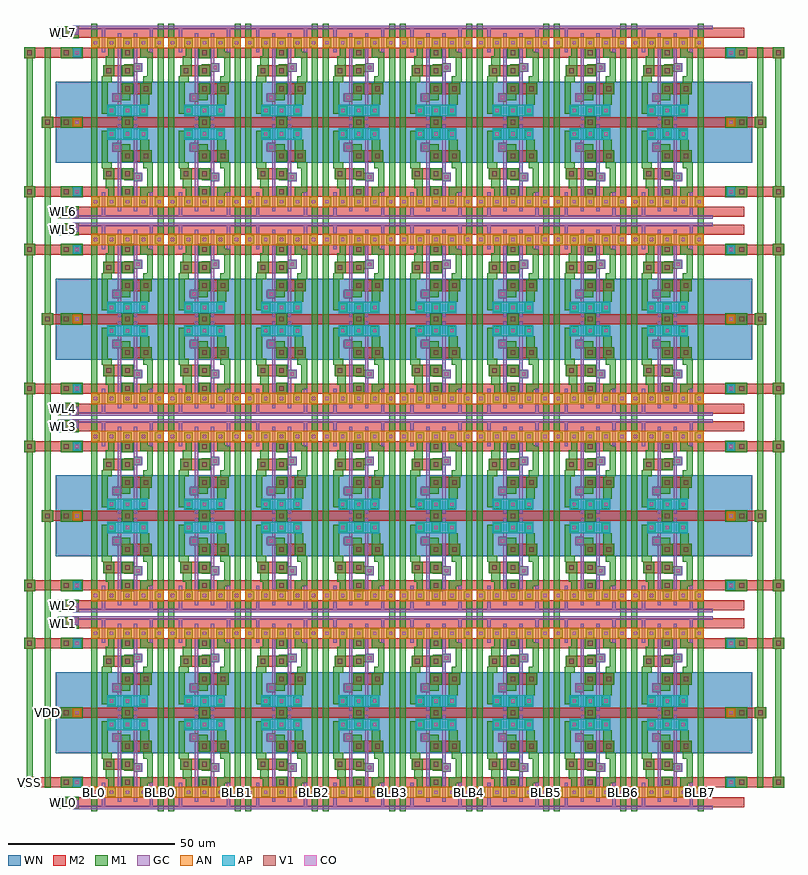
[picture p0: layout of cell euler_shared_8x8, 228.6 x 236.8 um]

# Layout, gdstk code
import gdstk
lib = gdstk.Library(unit=1e-6, precision=1e-07)
def R(c, l, rs):  # rectangles x0, y0, x1, y1
    for r in rs: c.add(gdstk.rectangle(r[:2], r[2:], *l))
def A(c, l, x, y, w, h, nx, ny, dx, dy):  # array of equal rectangles
    R(c, l, [(x+i*dx, y+j*dy, x+i*dx+w, y+j*dy+h) for i in range(nx) for j in range(ny)])
def P(c, l, *ps):  # polygons
    for p in ps: c.add(gdstk.Polygon(p, *l))
AP = (3, 1)
AN = (3, 2)
GC = (8, 1)
CO = (11, 0)
M1 = (13, 0)
V1 = (19, 0)
M2 = (20, 0)
WN = (140, 0)

euler = lib.new_cell('euler')
R(euler, AP, [(3.5,18.7,15.7,22.1)])
R(euler, AN, [(-1.3,-1.7,20.5,1.7)])
R(euler, GC, [(0,-5.1,23.2,-4.1), (1.9,-5.1,2.9,2.9), (16.3,-5.1,17.3,2.9), (6.7,-2.9,7.7,23.3), (11.5,-2.9,12.5,23.3), (11.5,6.1,14.1,8.7), (11.5,6.9,13.3,7.9), (5.1,15.1,7.7,17.7), (5.9,15.9,7.7,16.9)])
A(euler, CO, -0.5, -0.5, 1, 1, 5, 1, 4.8, 0)
A(euler, CO, 4.3, 19.9, 1, 1, 3, 1, 4.8, 0)
R(euler, CO, [(12.3,6.9,13.3,7.9), (5.9,15.9,6.9,16.9)])
P(euler, M1, [(8.3,-1.3),(8.3,1.3),(7.9,1.3),(7.9,4.7),(11.3,4.7),(11.3,1.3),(10.9,1.3),(10.9,-1.3)],
  [(11.5,6.1),(11.5,6.5),(8.7,6.5),(8.7,6.7),(7.9,6.7),(7.9,10.1),(11.3,10.1),(11.3,8.7),(14.1,8.7),(14.1,6.1)],
  [(7.9,12.1),(7.9,15.1),(5.1,15.1),(5.1,17.7),(7.7,17.7),(7.7,17.3),(10.5,17.3),(10.5,15.5),(11.3,15.5),(11.3,12.1)],
  [(3.5,-1.3),(3.5,1.3),(3.9,1.3),(3.9,4.1),(3.1,4.1),(3.1,6.7),(2.3,6.7),(2.3,10.1),(1.9,10.1),(1.9,21.3),(3.5,21.3),(3.5,21.7),(6.1,21.7),(6.1,19.1),(3.7,19.1),(3.7,11.9),(4.9,11.9),(4.9,10.1),(5.7,10.1),(5.7,1.3),(6.1,1.3),(6.1,-1.3)],
  [(13.1,-1.3),(13.1,1.3),(13.5,1.3),(13.5,4.5),(15.5,4.5),(15.5,10.1),(14.3,10.1),(14.3,12.1),(13.5,12.1),(13.5,19.1),(13.1,19.1),(13.1,21.7),(15.7,21.7),(15.7,18.7),(16.1,18.7),(16.1,15.5),(16.9,15.5),(16.9,11.9),(17.3,11.9),(17.3,2.7),(15.7,2.7),(15.7,-1.3)],
  [(-1.3,-5.7),(-1.3,23.9),(0.5,23.9),(0.5,1.3),(1.3,1.3),(1.3,-1.3),(0.5,-1.3),(0.5,-5.7)],
  [(18.7,-5.7),(18.7,-1.3),(17.9,-1.3),(17.9,1.3),(18.7,1.3),(18.7,23.9),(20.5,23.9),(20.5,-5.7)],
  [(8.3,19.1),(8.3,22.2),(7.9,22.2),(7.9,25.6),(11.3,25.6),(11.3,22.2),(10.9,22.2),(10.9,19.1)])
A(euler, V1, 8.9, 2.3, 1.4, 1.4, 1, 3, 0, 5.4)
R(euler, V1, [(3.3,7.7,4.7,9.1), (14.5,13.1,15.9,14.5), (8.9,23.2,10.3,24.6)])
A(euler, M2, 7.9, 1.3, 3.4, 3.4, 1, 3, 0, 5.4)
R(euler, M2, [(0,-4.5,23.2,-1.5), (0,1.5,23.2,4.5), (2.3,6.7,5.7,10.1), (2.3,6.7,11.3,10.1), (7.9,12.1,16.9,15.5), (13.5,12.1,16.9,15.5), (7.9,22.2,11.3,25.6), (0,22.4,23.2,25.4)])
R(euler, WN, [(-3.5,11.7,26.7,29.1)])

euler_shared_8x8 = lib.new_cell('euler_shared_8x8')
R(euler_shared_8x8, AP, [(-6.9,7.4,-4.3,10), (189.9,7.4,192.5,10), (-6.9,49.2,-4.3,51.8), (189.9,49.2,192.5,51.8), (-6.9,66.6,-4.3,69.2), (189.9,66.6,192.5,69.2), (-6.9,108.4,-4.3,111), (189.9,108.4,192.5,111), (-6.9,125.8,-4.3,128.4), (189.9,125.8,192.5,128.4), (-6.9,167.6,-4.3,170.2), (189.9,167.6,192.5,170.2), (-6.9,185,-4.3,187.6), (189.9,185,192.5,187.6), (-6.9,226.8,-4.3,229.4), (189.9,226.8,192.5,229.4)])
A(euler_shared_8x8, AN, -6.9, 28.3, 2.6, 2.6, 1, 4, 0, 59.2)
A(euler_shared_8x8, AN, 189.9, 28.3, 2.6, 2.6, 1, 4, 0, 59.2)
R(euler_shared_8x8, GC, [(-6.9,0.6,-5.9,2.5), (-6.4,0.6,0,1.6), (-7.7,0.7,-5.1,3.3), (-7.7,55.9,-5.1,58.5), (-6.9,56.7,-5.9,58.6), (-6.4,57.6,0,58.6), (-6.9,59.8,-5.9,61.7), (-6.4,59.8,0,60.8), (-7.7,59.9,-5.1,62.5), (-7.7,115.1,-5.1,117.7), (-6.9,115.9,-5.9,117.8), (-6.4,116.8,0,117.8), (-6.9,119,-5.9,120.9), (-6.4,119,0,120), (-7.7,119.1,-5.1,121.7), (-7.7,174.3,-5.1,176.9), (-6.9,175.1,-5.9,177), (-6.4,176,0,177), (-6.9,178.2,-5.9,180.1), (-6.4,178.2,0,179.2), (-7.7,178.3,-5.1,180.9), (-7.7,233.5,-5.1,236.1), (-6.9,234.3,-5.9,236.2), (-6.4,235.2,0,236.2)])
A(euler_shared_8x8, CO, -6.1, 8.2, 1, 1, 1, 3, 0, 20.9)
A(euler_shared_8x8, CO, 190.7, 8.2, 1, 1, 1, 3, 0, 20.9)
A(euler_shared_8x8, CO, -6.1, 67.4, 1, 1, 1, 3, 0, 20.9)
A(euler_shared_8x8, CO, 190.7, 67.4, 1, 1, 1, 3, 0, 20.9)
A(euler_shared_8x8, CO, -6.1, 126.6, 1, 1, 1, 3, 0, 20.9)
A(euler_shared_8x8, CO, 190.7, 126.6, 1, 1, 1, 3, 0, 20.9)
A(euler_shared_8x8, CO, -6.1, 185.8, 1, 1, 1, 3, 0, 20.9)
A(euler_shared_8x8, CO, 190.7, 185.8, 1, 1, 1, 3, 0, 20.9)
R(euler_shared_8x8, CO, [(-6.9,1.5,-5.9,2.5), (-6.9,56.7,-5.9,57.7), (-6.9,60.7,-5.9,61.7), (-6.9,115.9,-5.9,116.9), (-6.9,119.9,-5.9,120.9), (-6.9,175.1,-5.9,176.1), (-6.9,179.1,-5.9,180.1), (-6.9,234.3,-5.9,235.3)])
A(euler_shared_8x8, M1, -10.5, 7, 6.6, 3.4, 1, 3, 0, 20.9)
A(euler_shared_8x8, M1, -10.5, 7, 3.4, 3.4, 1, 3, 0, 20.9)
A(euler_shared_8x8, M1, 189.5, 7, 6.6, 3.4, 1, 3, 0, 20.9)
A(euler_shared_8x8, M1, 192.7, 7, 3.4, 3.4, 1, 3, 0, 20.9)
A(euler_shared_8x8, M1, -6.9, 7.4, 2.6, 2.6, 1, 3, 0, 20.9)
A(euler_shared_8x8, M1, 189.9, 7.4, 2.6, 2.6, 1, 3, 0, 20.9)
A(euler_shared_8x8, M1, -16.1, 27.9, 3.4, 3.4, 1, 4, 0, 59.2)
A(euler_shared_8x8, M1, 198.3, 27.9, 3.4, 3.4, 1, 4, 0, 59.2)
A(euler_shared_8x8, M1, -10.5, 66.2, 6.6, 3.4, 1, 3, 0, 20.9)
A(euler_shared_8x8, M1, -10.5, 66.2, 3.4, 3.4, 1, 3, 0, 20.9)
A(euler_shared_8x8, M1, 189.5, 66.2, 6.6, 3.4, 1, 3, 0, 20.9)
A(euler_shared_8x8, M1, 192.7, 66.2, 3.4, 3.4, 1, 3, 0, 20.9)
A(euler_shared_8x8, M1, -6.9, 66.6, 2.6, 2.6, 1, 3, 0, 20.9)
A(euler_shared_8x8, M1, 189.9, 66.6, 2.6, 2.6, 1, 3, 0, 20.9)
A(euler_shared_8x8, M1, -10.5, 125.4, 6.6, 3.4, 1, 3, 0, 20.9)
A(euler_shared_8x8, M1, -10.5, 125.4, 3.4, 3.4, 1, 3, 0, 20.9)
A(euler_shared_8x8, M1, 189.5, 125.4, 6.6, 3.4, 1, 3, 0, 20.9)
A(euler_shared_8x8, M1, 192.7, 125.4, 3.4, 3.4, 1, 3, 0, 20.9)
A(euler_shared_8x8, M1, -6.9, 125.8, 2.6, 2.6, 1, 3, 0, 20.9)
A(euler_shared_8x8, M1, 189.9, 125.8, 2.6, 2.6, 1, 3, 0, 20.9)
A(euler_shared_8x8, M1, -10.5, 184.6, 6.6, 3.4, 1, 3, 0, 20.9)
A(euler_shared_8x8, M1, -10.5, 184.6, 3.4, 3.4, 1, 3, 0, 20.9)
A(euler_shared_8x8, M1, 189.5, 184.6, 6.6, 3.4, 1, 3, 0, 20.9)
A(euler_shared_8x8, M1, 192.7, 184.6, 3.4, 3.4, 1, 3, 0, 20.9)
A(euler_shared_8x8, M1, -6.9, 185, 2.6, 2.6, 1, 3, 0, 20.9)
A(euler_shared_8x8, M1, 189.9, 185, 2.6, 2.6, 1, 3, 0, 20.9)
R(euler_shared_8x8, M1, [(-11.3,0.7,-5.1,4.4), (-7.7,0.7,-5.1,3.3), (-11.3,1,-7.9,4.4), (-21.5,7,-18.1,10.4), (-20.7,7,-18.9,229.8), (-15.3,7,-13.5,229.8), (199.1,7,200.9,229.8), (203.7,7,207.1,10.4), (204.5,7,206.3,229.8), (-21.5,48.8,-18.1,52.2), (203.7,48.8,207.1,52.2), (-11.3,54.8,-7.9,58.2), (-11.3,54.8,-5.1,58.5), (-7.7,55.9,-5.1,58.5), (-11.3,59.9,-5.1,63.6), (-7.7,59.9,-5.1,62.5), (-11.3,60.2,-7.9,63.6), (-21.5,66.2,-18.1,69.6), (203.7,66.2,207.1,69.6), (-21.5,108,-18.1,111.4), (203.7,108,207.1,111.4), (-11.3,114,-7.9,117.4), (-11.3,114,-5.1,117.7), (-7.7,115.1,-5.1,117.7), (-11.3,119.1,-5.1,122.8), (-7.7,119.1,-5.1,121.7), (-11.3,119.4,-7.9,122.8), (-21.5,125.4,-18.1,128.8), (203.7,125.4,207.1,128.8), (-21.5,167.2,-18.1,170.6), (203.7,167.2,207.1,170.6), (-11.3,173.2,-7.9,176.6), (-11.3,173.2,-5.1,176.9), (-7.7,174.3,-5.1,176.9), (-11.3,178.3,-5.1,182), (-7.7,178.3,-5.1,180.9), (-11.3,178.6,-7.9,182), (-21.5,184.6,-18.1,188), (203.7,184.6,207.1,188), (-21.5,226.4,-18.1,229.8), (203.7,226.4,207.1,229.8), (-11.3,232.4,-7.9,235.8), (-11.3,232.4,-5.1,236.1), (-7.7,233.5,-5.1,236.1)])
A(euler_shared_8x8, V1, -9.5, 8, 1.4, 1.4, 1, 3, 0, 20.9)
A(euler_shared_8x8, V1, 193.7, 8, 1.4, 1.4, 1, 3, 0, 20.9)
A(euler_shared_8x8, V1, -15.1, 28.9, 1.4, 1.4, 1, 4, 0, 59.2)
A(euler_shared_8x8, V1, 199.3, 28.9, 1.4, 1.4, 1, 4, 0, 59.2)
A(euler_shared_8x8, V1, -9.5, 67.2, 1.4, 1.4, 1, 3, 0, 20.9)
A(euler_shared_8x8, V1, 193.7, 67.2, 1.4, 1.4, 1, 3, 0, 20.9)
A(euler_shared_8x8, V1, -9.5, 126.4, 1.4, 1.4, 1, 3, 0, 20.9)
A(euler_shared_8x8, V1, 193.7, 126.4, 1.4, 1.4, 1, 3, 0, 20.9)
A(euler_shared_8x8, V1, -9.5, 185.6, 1.4, 1.4, 1, 3, 0, 20.9)
A(euler_shared_8x8, V1, 193.7, 185.6, 1.4, 1.4, 1, 3, 0, 20.9)
R(euler_shared_8x8, V1, [(-10.3,2,-8.9,3.4), (-20.5,8,-19.1,9.4), (204.7,8,206.1,9.4), (-20.5,49.8,-19.1,51.2), (204.7,49.8,206.1,51.2), (-10.3,55.8,-8.9,57.2), (-10.3,61.2,-8.9,62.6), (-20.5,67.2,-19.1,68.6), (204.7,67.2,206.1,68.6), (-20.5,109,-19.1,110.4), (204.7,109,206.1,110.4), (-10.3,115,-8.9,116.4), (-10.3,120.4,-8.9,121.8), (-20.5,126.4,-19.1,127.8), (204.7,126.4,206.1,127.8), (-20.5,168.2,-19.1,169.6), (204.7,168.2,206.1,169.6), (-10.3,174.2,-8.9,175.6), (-10.3,179.6,-8.9,181), (-20.5,185.6,-19.1,187), (204.7,185.6,206.1,187), (-20.5,227.4,-19.1,228.8), (204.7,227.4,206.1,228.8), (-10.3,233.4,-8.9,234.8)])
A(euler_shared_8x8, M2, -10.5, 7, 3.4, 3.4, 1, 3, 0, 20.9)
A(euler_shared_8x8, M2, 192.7, 7, 3.4, 3.4, 1, 3, 0, 20.9)
A(euler_shared_8x8, M2, -16.1, 27.9, 3.4, 3.4, 1, 4, 0, 59.2)
A(euler_shared_8x8, M2, 198.3, 27.9, 3.4, 3.4, 1, 4, 0, 59.2)
A(euler_shared_8x8, M2, -16.1, 28.1, 203.4, 3, 1, 4, 0, 59.2)
A(euler_shared_8x8, M2, -1.7, 28.1, 203.4, 3, 1, 4, 0, 59.2)
A(euler_shared_8x8, M2, -10.5, 66.2, 3.4, 3.4, 1, 3, 0, 20.9)
A(euler_shared_8x8, M2, 192.7, 66.2, 3.4, 3.4, 1, 3, 0, 20.9)
A(euler_shared_8x8, M2, -10.5, 125.4, 3.4, 3.4, 1, 3, 0, 20.9)
A(euler_shared_8x8, M2, 192.7, 125.4, 3.4, 3.4, 1, 3, 0, 20.9)
A(euler_shared_8x8, M2, -10.5, 184.6, 3.4, 3.4, 1, 3, 0, 20.9)
A(euler_shared_8x8, M2, 192.7, 184.6, 3.4, 3.4, 1, 3, 0, 20.9)
R(euler_shared_8x8, M2, [(-11.3,1,-7.9,4.4), (-9.6,1.2,195.2,4.2), (-21.5,7,-18.1,10.4), (203.7,7,207.1,10.4), (-21.5,7.2,187.3,10.2), (-1.7,7.2,207.1,10.2), (-21.5,48.8,-18.1,52.2), (203.7,48.8,207.1,52.2), (-21.5,49,187.3,52), (-1.7,49,207.1,52), (-11.3,54.8,-7.9,58.2), (-9.6,55,195.2,58), (-11.3,60.2,-7.9,63.6), (-9.6,60.4,195.2,63.4), (-21.5,66.2,-18.1,69.6), (203.7,66.2,207.1,69.6), (-21.5,66.4,187.3,69.4), (-1.7,66.4,207.1,69.4), (-21.5,108,-18.1,111.4), (203.7,108,207.1,111.4), (-21.5,108.2,187.3,111.2), (-1.7,108.2,207.1,111.2), (-11.3,114,-7.9,117.4), (-9.6,114.2,195.2,117.2), (-11.3,119.4,-7.9,122.8), (-9.6,119.6,195.2,122.6), (-21.5,125.4,-18.1,128.8), (203.7,125.4,207.1,128.8), (-21.5,125.6,187.3,128.6), (-1.7,125.6,207.1,128.6), (-21.5,167.2,-18.1,170.6), (203.7,167.2,207.1,170.6), (-21.5,167.4,187.3,170.4), (-1.7,167.4,207.1,170.4), (-11.3,173.2,-7.9,176.6), (-9.6,173.4,195.2,176.4), (-11.3,178.6,-7.9,182), (-9.6,178.8,195.2,181.8), (-21.5,184.6,-18.1,188), (203.7,184.6,207.1,188), (-21.5,184.8,187.3,187.8), (-1.7,184.8,207.1,187.8), (-21.5,226.4,-18.1,229.8), (203.7,226.4,207.1,229.8), (-21.5,226.6,187.3,229.6), (-1.7,226.6,207.1,229.6), (-11.3,232.4,-7.9,235.8), (-9.6,232.6,195.2,235.6)])
A(euler_shared_8x8, WN, -12, 17.4, 209.6, 24.4, 1, 4, 0, 59.2)
A(euler_shared_8x8, WN, 0, 17.4, 197.6, 24.4, 1, 4, 0, 59.2)
euler_shared_8x8.add(gdstk.Reference(euler, (0,5.7)))
euler_shared_8x8.add(gdstk.Reference(euler, (23.2,5.7)))
euler_shared_8x8.add(gdstk.Reference(euler, (46.4,5.7)))
euler_shared_8x8.add(gdstk.Reference(euler, (69.6,5.7)))
euler_shared_8x8.add(gdstk.Reference(euler, (92.8,5.7)))
euler_shared_8x8.add(gdstk.Reference(euler, (116,5.7)))
euler_shared_8x8.add(gdstk.Reference(euler, (139.2,5.7)))
euler_shared_8x8.add(gdstk.Reference(euler, (162.4,5.7)))
euler_shared_8x8.add(gdstk.Reference(euler, (0,53.5), x_reflection=True))
euler_shared_8x8.add(gdstk.Reference(euler, (23.2,53.5), x_reflection=True))
euler_shared_8x8.add(gdstk.Reference(euler, (46.4,53.5), x_reflection=True))
euler_shared_8x8.add(gdstk.Reference(euler, (69.6,53.5), x_reflection=True))
euler_shared_8x8.add(gdstk.Reference(euler, (92.8,53.5), x_reflection=True))
euler_shared_8x8.add(gdstk.Reference(euler, (116,53.5), x_reflection=True))
euler_shared_8x8.add(gdstk.Reference(euler, (139.2,53.5), x_reflection=True))
euler_shared_8x8.add(gdstk.Reference(euler, (162.4,53.5), x_reflection=True))
euler_shared_8x8.add(gdstk.Reference(euler, (0,64.9)))
euler_shared_8x8.add(gdstk.Reference(euler, (23.2,64.9)))
euler_shared_8x8.add(gdstk.Reference(euler, (46.4,64.9)))
euler_shared_8x8.add(gdstk.Reference(euler, (69.6,64.9)))
euler_shared_8x8.add(gdstk.Reference(euler, (92.8,64.9)))
euler_shared_8x8.add(gdstk.Reference(euler, (116,64.9)))
euler_shared_8x8.add(gdstk.Reference(euler, (139.2,64.9)))
euler_shared_8x8.add(gdstk.Reference(euler, (162.4,64.9)))
euler_shared_8x8.add(gdstk.Reference(euler, (0,112.7), x_reflection=True))
euler_shared_8x8.add(gdstk.Reference(euler, (23.2,112.7), x_reflection=True))
euler_shared_8x8.add(gdstk.Reference(euler, (46.4,112.7), x_reflection=True))
euler_shared_8x8.add(gdstk.Reference(euler, (69.6,112.7), x_reflection=True))
euler_shared_8x8.add(gdstk.Reference(euler, (92.8,112.7), x_reflection=True))
euler_shared_8x8.add(gdstk.Reference(euler, (116,112.7), x_reflection=True))
euler_shared_8x8.add(gdstk.Reference(euler, (139.2,112.7), x_reflection=True))
euler_shared_8x8.add(gdstk.Reference(euler, (162.4,112.7), x_reflection=True))
euler_shared_8x8.add(gdstk.Reference(euler, (0,124.1)))
euler_shared_8x8.add(gdstk.Reference(euler, (23.2,124.1)))
euler_shared_8x8.add(gdstk.Reference(euler, (46.4,124.1)))
euler_shared_8x8.add(gdstk.Reference(euler, (69.6,124.1)))
euler_shared_8x8.add(gdstk.Reference(euler, (92.8,124.1)))
euler_shared_8x8.add(gdstk.Reference(euler, (116,124.1)))
euler_shared_8x8.add(gdstk.Reference(euler, (139.2,124.1)))
euler_shared_8x8.add(gdstk.Reference(euler, (162.4,124.1)))
euler_shared_8x8.add(gdstk.Reference(euler, (0,171.9), x_reflection=True))
euler_shared_8x8.add(gdstk.Reference(euler, (23.2,171.9), x_reflection=True))
euler_shared_8x8.add(gdstk.Reference(euler, (46.4,171.9), x_reflection=True))
euler_shared_8x8.add(gdstk.Reference(euler, (69.6,171.9), x_reflection=True))
euler_shared_8x8.add(gdstk.Reference(euler, (92.8,171.9), x_reflection=True))
euler_shared_8x8.add(gdstk.Reference(euler, (116,171.9), x_reflection=True))
euler_shared_8x8.add(gdstk.Reference(euler, (139.2,171.9), x_reflection=True))
euler_shared_8x8.add(gdstk.Reference(euler, (162.4,171.9), x_reflection=True))
euler_shared_8x8.add(gdstk.Reference(euler, (0,183.3)))
euler_shared_8x8.add(gdstk.Reference(euler, (23.2,183.3)))
euler_shared_8x8.add(gdstk.Reference(euler, (46.4,183.3)))
euler_shared_8x8.add(gdstk.Reference(euler, (69.6,183.3)))
euler_shared_8x8.add(gdstk.Reference(euler, (92.8,183.3)))
euler_shared_8x8.add(gdstk.Reference(euler, (116,183.3)))
euler_shared_8x8.add(gdstk.Reference(euler, (139.2,183.3)))
euler_shared_8x8.add(gdstk.Reference(euler, (162.4,183.3)))
euler_shared_8x8.add(gdstk.Reference(euler, (0,231.1), x_reflection=True))
euler_shared_8x8.add(gdstk.Reference(euler, (23.2,231.1), x_reflection=True))
euler_shared_8x8.add(gdstk.Reference(euler, (46.4,231.1), x_reflection=True))
euler_shared_8x8.add(gdstk.Reference(euler, (69.6,231.1), x_reflection=True))
euler_shared_8x8.add(gdstk.Reference(euler, (92.8,231.1), x_reflection=True))
euler_shared_8x8.add(gdstk.Reference(euler, (116,231.1), x_reflection=True))
euler_shared_8x8.add(gdstk.Reference(euler, (139.2,231.1), x_reflection=True))
euler_shared_8x8.add(gdstk.Reference(euler, (162.4,231.1), x_reflection=True))
euler_shared_8x8.add(gdstk.Label('WL0', (-9.6,2.7), layer=49, texttype=0))
euler_shared_8x8.add(gdstk.Label('WL1', (-9.6,56.5), layer=49, texttype=0))
euler_shared_8x8.add(gdstk.Label('WL2', (-9.6,61.9), layer=49, texttype=0))
euler_shared_8x8.add(gdstk.Label('WL3', (-9.6,115.7), layer=49, texttype=0))
euler_shared_8x8.add(gdstk.Label('WL4', (-9.6,121.1), layer=49, texttype=0))
euler_shared_8x8.add(gdstk.Label('WL5', (-9.6,174.9), layer=49, texttype=0))
euler_shared_8x8.add(gdstk.Label('WL6', (-9.6,180.3), layer=49, texttype=0))
euler_shared_8x8.add(gdstk.Label('WL7', (-9.6,234.1), layer=49, texttype=0))
euler_shared_8x8.add(gdstk.Label('VDD', (-14.4,29.6), layer=48, texttype=0))
euler_shared_8x8.add(gdstk.Label('VSS', (-19.8,8.7), layer=48, texttype=0))
euler_shared_8x8.add(gdstk.Label('BL0', (-0.4,5.7), layer=48, texttype=0))
euler_shared_8x8.add(gdstk.Label('BLB0', (19.6,5.7), layer=48, texttype=0))
euler_shared_8x8.add(gdstk.Label('BL1', (22.8,5.7), layer=48, texttype=0))
euler_shared_8x8.add(gdstk.Label('BLB1', (42.8,5.7), layer=48, texttype=0))
euler_shared_8x8.add(gdstk.Label('BL2', (46,5.7), layer=48, texttype=0))
euler_shared_8x8.add(gdstk.Label('BLB2', (66,5.7), layer=48, texttype=0))
euler_shared_8x8.add(gdstk.Label('BL3', (69.2,5.7), layer=48, texttype=0))
euler_shared_8x8.add(gdstk.Label('BLB3', (89.2,5.7), layer=48, texttype=0))
euler_shared_8x8.add(gdstk.Label('BL4', (92.4,5.7), layer=48, texttype=0))
euler_shared_8x8.add(gdstk.Label('BLB4', (112.4,5.7), layer=48, texttype=0))
euler_shared_8x8.add(gdstk.Label('BL5', (115.6,5.7), layer=48, texttype=0))
euler_shared_8x8.add(gdstk.Label('BLB5', (135.6,5.7), layer=48, texttype=0))
euler_shared_8x8.add(gdstk.Label('BL6', (138.8,5.7), layer=48, texttype=0))
euler_shared_8x8.add(gdstk.Label('BLB6', (158.8,5.7), layer=48, texttype=0))
euler_shared_8x8.add(gdstk.Label('BL7', (162,5.7), layer=48, texttype=0))
euler_shared_8x8.add(gdstk.Label('BLB7', (182,5.7), layer=48, texttype=0))

lib.write_gds('euler_shared_8x8.gds')
